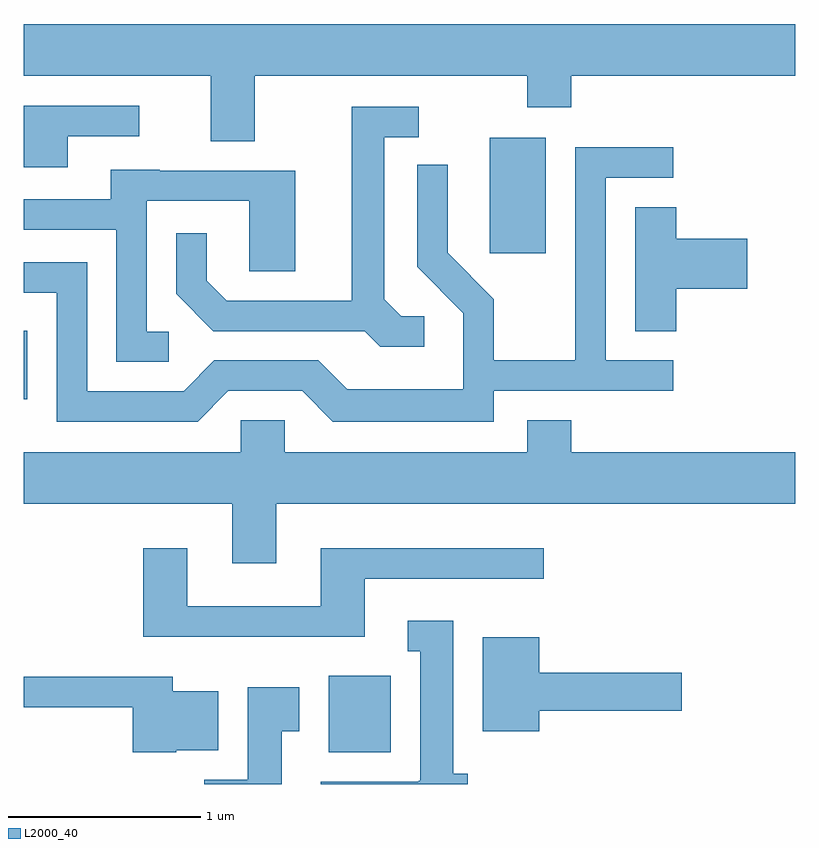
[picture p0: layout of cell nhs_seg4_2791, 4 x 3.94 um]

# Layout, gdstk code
import gdstk
lib = gdstk.Library(unit=1e-6, precision=1e-09)
def R(c, l, rs):  # rectangles x0, y0, x1, y1
    for r in rs: c.add(gdstk.rectangle(r[:2], r[2:], *l))
def P(c, l, *ps):  # polygons
    for p in ps: c.add(gdstk.Polygon(p, *l))
L2000_40 = (2000, 40)

nhs_seg4_2791 = lib.new_cell('nhs_seg4_2791')
R(nhs_seg4_2791, L2000_40, [(269.191,1260.146,269.514,1260.544), (267.611,1261.978,267.629,1262.334), (270.026,1262.736,270.319,1263.334)])
P(nhs_seg4_2791, L2000_40, [(268.809,1263.656),(270.221,1263.656),(270.221,1263.491),(270.449,1263.491),(270.449,1263.656),(271.611,1263.656),(271.611,1263.924),(267.611,1263.924),(267.611,1263.656),(268.581,1263.656),(268.581,1263.316),(268.809,1263.316)],
  [(267.839,1263.341),(268.208,1263.341),(268.208,1263.499),(267.611,1263.499),(267.611,1263.181),(267.839,1263.181)],
  [(269.688,1262.409),(269.567,1262.409),(269.479,1262.497),(269.479,1263.336),(269.658,1263.336),(269.658,1263.494),(269.311,1263.494),(269.311,1262.489),(268.662,1262.489),(268.559,1262.592),(268.559,1262.838),(268.401,1262.838),(268.401,1262.524),(268.594,1262.331),(269.379,1262.331),(269.459,1262.251),(269.688,1262.251)],
  [(268.672,1262.021),(269.054,1262.021),(269.214,1261.861),(270.049,1261.861),(270.049,1262.021),(270.978,1262.021),(270.978,1262.179),(270.629,1262.179),(270.629,1263.126),(270.978,1263.126),(270.978,1263.284),(270.471,1263.284),(270.471,1262.179),(270.049,1262.179),(270.049,1262.497),(269.809,1262.737),(269.809,1263.193),(269.651,1263.193),(269.651,1262.664),(269.891,1262.424),(269.891,1262.029),(269.287,1262.029),(269.137,1262.179),(268.599,1262.179),(268.439,1262.019),(267.939,1262.019),(267.939,1262.689),(267.611,1262.689),(267.611,1262.531),(267.781,1262.531),(267.781,1261.861),(268.512,1261.861)],
  [(268.363,1262.329),(268.249,1262.329),(268.249,1263.006),(268.781,1263.006),(268.781,1262.641),(269.019,1262.641),(269.019,1263.164),(268.315,1263.164),(268.315,1263.169),(268.061,1263.169),(268.061,1263.014),(267.611,1263.014),(267.611,1262.856),(268.091,1262.856),(268.091,1262.171),(268.363,1262.171)],
  [(270.994,1262.551),(271.364,1262.551),(271.364,1262.809),(270.994,1262.809),(270.994,1262.974),(270.781,1262.974),(270.781,1262.331),(270.994,1262.331)],
  [(268.919,1261.436),(271.611,1261.436),(271.611,1261.704),(270.449,1261.704),(270.449,1261.869),(270.221,1261.869),(270.221,1261.704),(268.964,1261.704),(268.964,1261.869),(268.736,1261.869),(268.736,1261.704),(267.611,1261.704),(267.611,1261.436),(268.691,1261.436),(268.691,1261.126),(268.919,1261.126)],
  [(269.379,1261.046),(270.308,1261.046),(270.308,1261.204),(269.151,1261.204),(269.151,1260.904),(268.459,1260.904),(268.459,1261.204),(268.231,1261.204),(268.231,1260.746),(269.379,1260.746)],
  [(269.914,1260.034),(269.839,1260.034),(269.839,1260.829),(269.603,1260.829),(269.603,1260.671),(269.666,1260.671),(269.666,1260),(269.66,1260),(269.66,1259.994),(269.151,1259.994),(269.151,1259.982),(269.914,1259.982)],
  [(270.284,1260.361),(271.024,1260.361),(271.024,1260.559),(270.284,1260.559),(270.284,1260.744),(269.991,1260.744),(269.991,1260.256),(270.284,1260.256)],
  [(268.4,1260.156),(268.619,1260.156),(268.619,1260.464),(268.384,1260.464),(268.384,1260.539),(267.611,1260.539),(267.611,1260.381),(268.176,1260.381),(268.176,1260.146),(268.4,1260.146)],
  [(268.949,1260.256),(269.039,1260.256),(269.039,1260.484),(268.771,1260.484),(268.771,1260.004),(268.546,1260.004),(268.546,1259.982),(268.949,1259.982)])

lib.write_gds('nhs_seg4_2791.gds')
